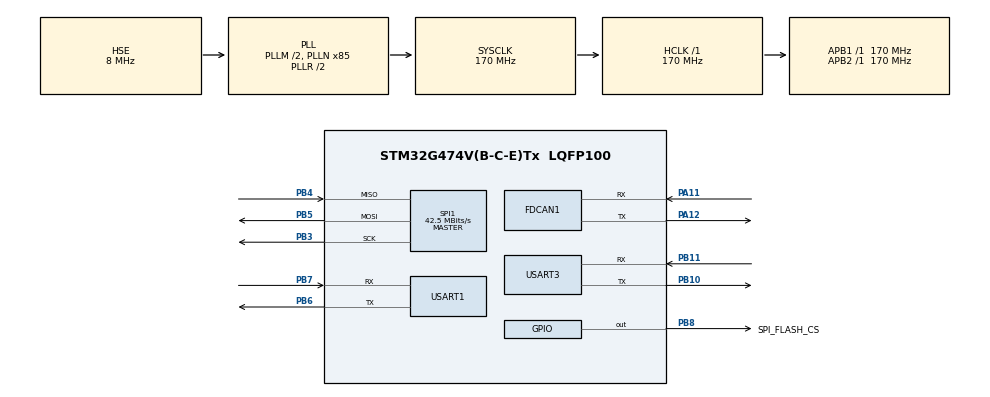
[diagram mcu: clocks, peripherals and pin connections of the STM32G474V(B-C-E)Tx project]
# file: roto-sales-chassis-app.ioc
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Dma.Request0=USART3_RX
Dma.USART3_RX.0.Direction=DMA_PERIPH_TO_MEMORY
Dma.USART3_RX.0.EventEnable=DISABLE
Dma.USART3_RX.0.Instance=DMA1_Channel1
Dma.USART3_RX.0.MemDataAlignment=DMA_MDATAALIGN_BYTE
Dma.USART3_RX.0.MemInc=DMA_MINC_ENABLE
Dma.USART3_RX.0.Mode=DMA_NORMAL
Dma.USART3_RX.0.PeriphDataAlignment=DMA_PDATAALIGN_BYTE
Dma.USART3_RX.0.PeriphInc=DMA_PINC_DISABLE
Dma.USART3_RX.0.Polarity=HAL_DMAMUX_REQ_GEN_RISING
Dma.USART3_RX.0.Priority=DMA_PRIORITY_MEDIUM
Dma.USART3_RX.0.RequestNumber=1
Dma.USART3_RX.0.SignalID=NONE
Dma.USART3_RX.0.SyncEnable=DISABLE
Dma.USART3_RX.0.SyncPolarity=HAL_DMAMUX_SYNC_NO_EVENT
Dma.USART3_RX.0.SyncRequestNumber=1
Dma.USART3_RX.0.SyncSignalID=NONE
FDCAN1.CalculateBaudRateNominal=2125000
FDCAN1.CalculateTimeBitNominal=470
FDCAN1.CalculateTimeQuantumNominal=94.11764705882354
FREERTOS.Tasks01=defaultTask,0,128,StartDefaultTask,Default,NULL,Dynamic,NULL,NULL
FREERTOS.configENABLE_FPU=1
FREERTOS.configTOTAL_HEAP_SIZE=40960
Mcu.Family=STM32G4
Mcu.Name=STM32G474V(B-C-E)Tx
Mcu.Package=LQFP100
NVIC.DMA1_Channel1_IRQn=true\:5\:0\:false\:false\:true\:true\:false\:true\:true
NVIC.FDCAN1_IT0_IRQn=true\:5\:0\:false\:false\:true\:true\:true\:true\:true
NVIC.PriorityGroup=NVIC_PRIORITYGROUP_4
NVIC.USART1_IRQn=true\:5\:0\:false\:false\:true\:true\:true\:true\:true
NVIC.USART3_IRQn=true\:5\:0\:false\:false\:true\:true\:true\:true\:true
PA11.Mode=FDCAN_Activate
PA11.Signal=FDCAN1_RX
PA12.Mode=FDCAN_Activate
PA12.Signal=FDCAN1_TX
PA13.Mode=Serial_Wire
PA13.Signal=SYS_JTMS-SWDIO
PA14.Mode=Serial_Wire
PA14.Signal=SYS_JTCK-SWCLK
PB10.Mode=Asynchronous
PB10.Signal=USART3_TX
PB11.Mode=Asynchronous
PB11.Signal=USART3_RX
PB3.Mode=Full_Duplex_Master
PB3.Signal=SPI1_SCK
PB4.Mode=Full_Duplex_Master
PB4.Signal=SPI1_MISO
PB5.Mode=Full_Duplex_Master
PB5.Signal=SPI1_MOSI
PB6.Mode=Asynchronous
PB6.Signal=USART1_TX
PB7.Mode=Asynchronous
PB7.Signal=USART1_RX
PB8-BOOT0.GPIO_Label=SPI_FLASH_CS
PB8-BOOT0.GPIO_Speed=GPIO_SPEED_FREQ_VERY_HIGH
PB8-BOOT0.PinState=GPIO_PIN_SET
PB8-BOOT0.Signal=GPIO_Output
PF0-OSC_IN.Mode=HSE-External-Oscillator
PF0-OSC_IN.Signal=RCC_OSC_IN
PF1-OSC_OUT.Mode=HSE-External-Oscillator
PF1-OSC_OUT.Signal=RCC_OSC_OUT
ProjectManager.HeapSize=0x200
ProjectManager.StackSize=0x400
ProjectManager.TargetToolchain=Makefile
RCC.ADC12Freq_Value=170000000
RCC.ADC345Freq_Value=170000000
RCC.AHBFreq_Value=170000000
RCC.APB1Freq_Value=170000000
RCC.APB1TimFreq_Value=170000000
RCC.APB2Freq_Value=170000000
RCC.APB2TimFreq_Value=170000000
RCC.CortexFreq_Value=170000000
RCC.EXTERNAL_CLOCK_VALUE=12288000
RCC.HCLKFreq_Value=170000000
RCC.HSE_VALUE=8000000
RCC.HSI48_VALUE=48000000
RCC.HSI_VALUE=16000000
RCC.LSE_VALUE=32768
RCC.PLLM=RCC_PLLM_DIV2
RCC.PLLN=85
RCC.PLLSourceVirtual=RCC_PLLSOURCE_HSE
RCC.SYSCLKFreq_VALUE=170000000
RCC.SYSCLKSource=RCC_SYSCLKSOURCE_PLLCLK
RCC.USBFreq_Value=170000000
RCC.VCOOutputFreq_Value=340000000
SPI1.BaudRatePrescaler=SPI_BAUDRATEPRESCALER_4
SPI1.CalculateBaudRate=42.5 MBits/s
SPI1.DataSize=SPI_DATASIZE_8BIT
SPI1.Direction=SPI_DIRECTION_2LINES
SPI1.Mode=SPI_MODE_MASTER
SPI1.NSSPMode=SPI_NSS_PULSE_DISABLE
SPI1.VirtualType=VM_MASTER
USART1.VirtualMode-Asynchronous=VM_ASYNC
USART3.VirtualMode-Asynchronous=VM_ASYNC
VP_FREERTOS_VS_CMSIS_V1.Mode=CMSIS_V1
VP_SYS_VS_DBSignals.Mode=DisableDeadBatterySignals
board=custom

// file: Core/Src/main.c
/* USER CODE BEGIN Header */
/**
  ******************************************************************************
  * @file           : main.c
  * @brief          : Main program body
  ******************************************************************************
  * @attention
  *
  * Copyright (c) 2026 STMicroelectronics.
  * All rights reserved.
  *
  * This software is licensed under terms that can be found in the LICENSE file
  * in the root directory of this software component.
  * If no LICENSE file comes with this software, it is provided AS-IS.
  *
  ******************************************************************************
  */
/* USER CODE END Header */
#include "main.h"
#include "cmsis_os.h"
#include "dma.h"
#include "fdcan.h"
#include "spi.h"
#include "usart.h"
#include "gpio.h"

/* USER CODE BEGIN Includes */
#include "ota_manager.h"
#include "app_ota.h"
#include <stdio.h>
/* USER CODE END Includes */

void SystemClock_Config(void);
void MX_FREERTOS_Init(void);

/* USER CODE BEGIN 0 */

/* printf 重定向到 USART1 (PB6=TX, PB7=RX, 115200) */
#include <stdio.h>
extern UART_HandleTypeDef huart1;

int _write(int fd, char *ptr, int len)
{
  (void)fd;
  /* 等待上一次发送完成再发送，避免覆盖 */
  while (__HAL_UART_GET_FLAG(&huart1, UART_FLAG_TXE) == RESET);
  HAL_UART_Transmit(&huart1, (uint8_t *)ptr, (uint16_t)len, 1000);
  return len;
}

int fputc(int ch, FILE *f)
{
  (void)f;
  HAL_UART_Transmit(&huart1, (uint8_t *)&ch, 1, 1000);
  return ch;
}

/* USER CODE END 0 */

int main(void)
{
  /* USER CODE BEGIN 1 */
  SCB->VTOR = 0x08010800;
  /* USER CODE END 1 */

  /* MCU Configuration--------------------------------------------------------*/

  /* Reset of all peripherals, Initializes the Flash interface and the Systick. */
  HAL_Init();

  /* Configure the system clock */
  SystemClock_Config();

  /* Initialize all configured peripherals */
  MX_GPIO_Init();
  MX_DMA_Init();
  MX_FDCAN1_Init();
  MX_SPI1_Init();
  MX_USART1_UART_Init();
  MX_USART3_UART_Init();
  /* USER CODE BEGIN 2 */

  OTA_Manager_Init();       // 1. 先初始化标志区
  App_OTA_CheckAndConfirm(); // 2. 检查并确认固件状态
  /* USER CODE END 2 */

  printf("\r\n===== APP BOOT SUCCESS =====\r\n");
  printf("Firmware Version: %s\r\n", FW_VERSION_STR);
  // 🌟 在这里调用打印标志区信息
  OTA_PrintFlagInfo();
  printf("Starting FreeRTOS scheduler...\r\n");

  /* Call init function for freertos objects (in freertos.c) */
  MX_FREERTOS_Init();

  /* Start scheduler */
  osKernelStart();
  /* We should never get here as control is now taken by the scheduler */
  /* Infinite loop */
  while (1)
  {

  }
}

void SystemClock_Config(void)
{
  RCC_OscInitTypeDef RCC_OscInitStruct = {0};
  RCC_ClkInitTypeDef RCC_ClkInitStruct = {0};

  /** Configure the main internal regulator output voltage
  */
  HAL_PWREx_ControlVoltageScaling(PWR_REGULATOR_VOLTAGE_SCALE1_BOOST);

  /** Initializes the RCC Oscillators according to the specified parameters
  * in the RCC_OscInitTypeDef structure.
  */
  RCC_OscInitStruct.OscillatorType = RCC_OSCILLATORTYPE_HSE;
  RCC_OscInitStruct.HSEState = RCC_HSE_ON;
  RCC_OscInitStruct.PLL.PLLState = RCC_PLL_ON;
  RCC_OscInitStruct.PLL.PLLSource = RCC_PLLSOURCE_HSE;
  RCC_OscInitStruct.PLL.PLLM = RCC_PLLM_DIV2;
  RCC_OscInitStruct.PLL.PLLN = 85;
  RCC_OscInitStruct.PLL.PLLP = RCC_PLLP_DIV2;
  RCC_OscInitStruct.PLL.PLLQ = RCC_PLLQ_DIV2;
  RCC_OscInitStruct.PLL.PLLR = RCC_PLLR_DIV2;
  if (HAL_RCC_OscConfig(&RCC_OscInitStruct) != HAL_OK)
  {
    Error_Handler();
  }

  /** Initializes the CPU, AHB and APB buses clocks
  */
  RCC_ClkInitStruct.ClockType = RCC_CLOCKTYPE_HCLK|RCC_CLOCKTYPE_SYSCLK
                              |RCC_CLOCKTYPE_PCLK1|RCC_CLOCKTYPE_PCLK2;
  RCC_ClkInitStruct.SYSCLKSource = RCC_SYSCLKSOURCE_PLLCLK;
  RCC_ClkInitStruct.AHBCLKDivider = RCC_SYSCLK_DIV1;
  RCC_ClkInitStruct.APB1CLKDivider = RCC_HCLK_DIV1;
  RCC_ClkInitStruct.APB2CLKDivider = RCC_HCLK_DIV1;

  if (HAL_RCC_ClockConfig(&RCC_ClkInitStruct, FLASH_LATENCY_4) != HAL_OK)
  {
    Error_Handler();
  }
}

void Error_Handler(void)
{
  __disable_irq();
  while (1)
  {
  }
}

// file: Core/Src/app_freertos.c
/* USER CODE BEGIN Header */
/**
  ******************************************************************************
  * File Name          : app_freertos.c
  * Description        : Code for freertos applications
  ******************************************************************************
  * @attention
  *
  * Copyright (c) 2026 STMicroelectronics.
  * All rights reserved.
  *
  * This software is licensed under terms that can be found in the LICENSE file
  * in the root directory of this software component.
  * If no LICENSE file comes with this software, it is provided AS-IS.
  *
  ******************************************************************************
  */
/* USER CODE END Header */

#include "FreeRTOS.h"
#include "task.h"
#include "main.h"
#include "cmsis_os.h"

/* USER CODE BEGIN Includes */
#include <stdio.h>
#include "app_ota_download.h"
#include "app_ymodem.h"
#include "app_modbus.h"
#include "port_uart.h"
/* USER CODE END Includes */

osThreadId defaultTaskHandle;

void StartDefaultTask(void const * argument);

void MX_FREERTOS_Init(void); /* (MISRA C 2004 rule 8.1) */

void MX_FREERTOS_Init(void) {

  /* Create the thread(s) */
  /* definition and creation of defaultTask */
  osThreadDef(defaultTask, StartDefaultTask, osPriorityNormal, 0, 512);
  defaultTaskHandle = osThreadCreate(osThread(defaultTask), NULL);

  if (defaultTaskHandle == NULL) {
      printf("[FATAL] Task creation FAILED!\r\n");
  }

}

void StartDefaultTask(void const * argument)
{
  /* USER CODE BEGIN StartDefaultTask */

  /* 1. 初始状态下，只开启 Modbus 的 DMA 接收，绝对不要开单字节中断 */
  App_Modbus_Start();

  printf("[APP] Modbus DMA started.\r\n");
  osDelay(1000);
  printf("[APP] System Ready. Modbus RTU is running.\r\n");

  uint32_t ota_timeout_cnt = 0;  // YModem 超时计数器

  for(;;)
  {
    if (g_is_ota_mode == 0)
    {
        /* ================== 默认状态：Modbus 模式 ================== */
        uint8_t modbus_rx_buf[256];
        uint16_t rx_len = 0;

        // 轮询 Modbus 数据
        if (App_Modbus_GetFrame(modbus_rx_buf, &rx_len))
        {
            printf("[DBG] Frame rx_len=%d, buf[0]=0x%02X, buf[1]=0x%02X\r\n",
                   rx_len, modbus_rx_buf[0], modbus_rx_buf[1]);
            if (rx_len >= 2)
            {
                // 检查是否是 OTA 升级指令
                if (modbus_rx_buf[1] == 0x41)
                {
                    printf("[APP] OTA command received, suspend Modbus, ready for YModem...\r\n");

                    // 1. 彻底停止 Modbus 的 DMA 接收
                    App_Modbus_Stop();

                    // 🌟 2. 强制复位 USART3 硬件，彻底清空错误标志，解决 DMA 和 IT 冲突
                    Port_UART_Reset();

                    // 3. 切换为 OTA 模式 (让 IDLE 回调把整帧交给 YModem)
                    g_is_ota_mode = 1;

                    // 4. 先准备接收，再发送 'C'，避免上位机首帧到达时漏收
                    App_OTA_Download_Init();
                    App_YModem_StartDMA();
                    App_YModem_Init();

                    // 5. 复位超时计数
                    ota_timeout_cnt = 0;
                }
                else
                {
                    // 处理普通 Modbus 控制指令
                }
            }
        }
    }
    else
    {
        /* ================== 临时状态：YModem 模式 ================== */
        App_YModem_Process();   // 任务上下文处理 YModem 协议 (发送 ACK/NAK)
        ota_timeout_cnt++;
        if (ota_timeout_cnt > 3000) // 30秒超时
        {
            printf("[APP] YModem timeout! Restore Modbus.\r\n");

            // 1. 彻底停车 YModem 的 DMA 接收，防止与 Modbus 缓冲冲突
            Port_UART_RS485_DeInit();
            App_Modbus_Stop();
            g_is_ota_mode = 0;

            // 2. 重新开启 Modbus 的 DMA
            App_Modbus_Start();
        }
    }

    osDelay(10); // 让出 CPU
  }

  /* USER CODE END StartDefaultTask */
}
